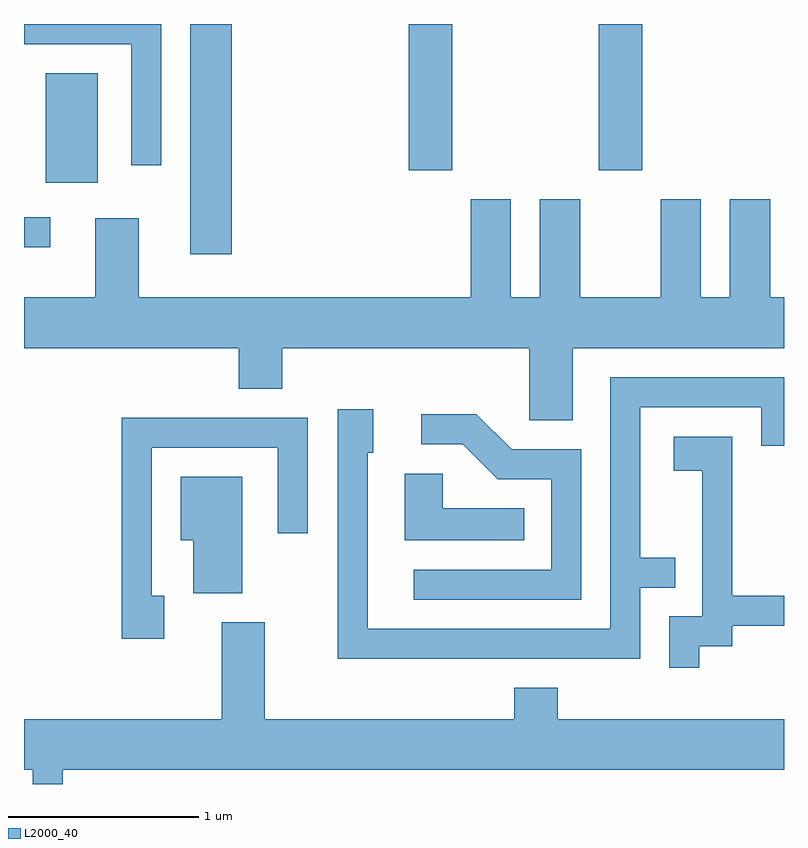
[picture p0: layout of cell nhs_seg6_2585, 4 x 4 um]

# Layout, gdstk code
import gdstk
lib = gdstk.Library(unit=1e-6, precision=1e-09)
def R(c, l, rs):  # rectangles x0, y0, x1, y1
    for r in rs: c.add(gdstk.rectangle(r[:2], r[2:], *l))
def P(c, l, *ps):  # polygons
    for p in ps: c.add(gdstk.Polygon(p, *l))
L2000_40 = (2000, 40)

nhs_seg6_2585 = lib.new_cell('nhs_seg6_2585')
R(nhs_seg6_2585, L2000_40, [(264.486,1574.951,264.704,1576.162), (263.611,1574.986,263.748,1575.144), (263.726,1575.326,263.999,1575.904), (265.636,1575.391,265.864,1576.162), (266.636,1575.391,266.864,1576.162)])
P(nhs_seg6_2585, L2000_40, [(264.334,1576.162),(263.611,1576.162),(263.611,1576.056),(264.176,1576.056),(264.176,1575.418),(264.334,1575.418)],
  [(266.499,1574.456),(267.611,1574.456),(267.611,1574.724),(267.539,1574.724),(267.539,1575.239),(267.326,1575.239),(267.326,1574.724),(267.174,1574.724),(267.174,1575.239),(266.961,1575.239),(266.961,1574.724),(266.539,1574.724),(266.539,1575.239),(266.326,1575.239),(266.326,1574.724),(266.174,1574.724),(266.174,1575.239),(265.961,1575.239),(265.961,1574.724),(264.214,1574.724),(264.214,1575.139),(263.986,1575.139),(263.986,1574.724),(263.611,1574.724),(263.611,1574.456),(264.741,1574.456),(264.741,1574.241),(264.969,1574.241),(264.969,1574.456),(266.271,1574.456),(266.271,1574.076),(266.499,1574.076)],
  [(266.854,1573.196),(267.038,1573.196),(267.038,1573.354),(266.854,1573.354),(266.854,1574.146),(267.491,1574.146),(267.491,1573.941),(267.611,1573.941),(267.611,1574.304),(266.696,1574.304),(266.696,1572.979),(265.419,1572.979),(265.419,1573.906),(265.449,1573.906),(265.449,1574.134),(265.261,1574.134),(265.261,1572.821),(266.854,1572.821)],
  [(266.544,1573.924),(266.177,1573.924),(265.992,1574.109),(265.703,1574.109),(265.703,1573.951),(265.919,1573.951),(266.104,1573.766),(266.386,1573.766),(266.386,1573.289),(265.663,1573.289),(265.663,1573.131),(266.544,1573.131)],
  [(264.349,1573.154),(264.284,1573.154),(264.284,1573.931),(264.946,1573.931),(264.946,1573.483),(265.104,1573.483),(265.104,1574.089),(264.126,1574.089),(264.126,1572.926),(264.349,1572.926)],
  [(267.164,1572.886),(267.339,1572.886),(267.339,1572.996),(267.611,1572.996),(267.611,1573.154),(267.339,1573.154),(267.339,1573.989),(267.031,1573.989),(267.031,1573.811),(267.181,1573.811),(267.181,1573.044),(267.006,1573.044),(267.006,1572.773),(267.164,1572.773)],
  [(266.243,1573.614),(265.814,1573.614),(265.814,1573.794),(265.616,1573.794),(265.616,1573.446),(266.243,1573.446)],
  [(264.759,1573.779),(264.436,1573.779),(264.436,1573.446),(264.501,1573.446),(264.501,1573.166),(264.759,1573.166)],
  [(263.814,1572.236),(267.611,1572.236),(267.611,1572.504),(266.419,1572.504),(266.419,1572.669),(266.191,1572.669),(266.191,1572.504),(264.879,1572.504),(264.879,1573.014),(264.651,1573.014),(264.651,1572.504),(263.611,1572.504),(263.611,1572.236),(263.656,1572.236),(263.656,1572.162),(263.814,1572.162)])

lib.write_gds('nhs_seg6_2585.gds')
